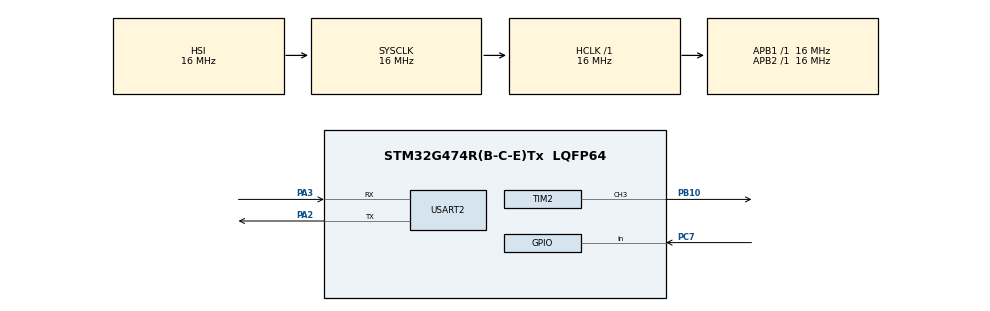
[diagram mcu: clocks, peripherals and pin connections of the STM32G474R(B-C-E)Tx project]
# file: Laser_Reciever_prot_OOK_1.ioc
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Mcu.Family=STM32G4
Mcu.Name=STM32G474R(B-C-E)Tx
Mcu.Package=LQFP64
NVIC.PriorityGroup=NVIC_PRIORITYGROUP_4
NVIC.USART2_IRQn=true\:0\:0\:false\:false\:true\:true\:true\:true
PA2.Mode=Asynchronous
PA2.Signal=USART2_TX
PA3.Mode=Asynchronous
PA3.Signal=USART2_RX
PB10.Signal=S_TIM2_CH3
PC7.Signal=GPIO_Input
ProjectManager.HeapSize=0x200
ProjectManager.StackSize=0x400
ProjectManager.TargetToolchain=STM32CubeIDE
RCC.AHBFreq_Value=16000000
RCC.APB1Freq_Value=16000000
RCC.APB1TimFreq_Value=16000000
RCC.APB2Freq_Value=16000000
RCC.APB2TimFreq_Value=16000000
RCC.CortexFreq_Value=16000000
RCC.EXTERNAL_CLOCK_VALUE=12288000
RCC.HCLKFreq_Value=16000000
RCC.HSE_VALUE=8000000
RCC.HSI48_VALUE=48000000
RCC.HSI_VALUE=16000000
RCC.LSE_VALUE=32768
RCC.SYSCLKFreq_VALUE=16000000
RCC.USBFreq_Value=64000000
RCC.VCOOutputFreq_Value=128000000
SH.S_TIM2_CH3.0=TIM2_CH3,PWM Generation3 CH3
TIM2.Channel-PWM\ Generation3\ CH3=TIM_CHANNEL_3
TIM2.PeriodNoDither=999
TIM2.Prescaler=15
USART2.VirtualMode-Asynchronous=VM_ASYNC
VP_SYS_VS_DBSignals.Mode=DisableDeadBatterySignals
VP_TIM2_VS_ClockSourceINT.Mode=Internal
board=custom

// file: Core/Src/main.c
/* USER CODE BEGIN Header */
/**
  ******************************************************************************
  * @file           : main.c
  * @brief          : Main program body
  ******************************************************************************
  * @attention
  *
  * Copyright (c) 2025 STMicroelectronics.
  * All rights reserved.
  *
  * This software is licensed under terms that can be found in the LICENSE file
  * in the root directory of this software component.
  * If no LICENSE file comes with this software, it is provided AS-IS.
  *
  ******************************************************************************
  */
/* USER CODE END Header */
#include "main.h"
#include "time.h"
#include "stdio.h"

TIM_HandleTypeDef htim2;

UART_HandleTypeDef huart2;

/* USER CODE BEGIN PV */
//double start = 0;
//double cur_time = 0;

uint8_t cur_light = 0;
uint8_t zero_count = 0;
uint8_t cur_sum = 0;
uint8_t rec_buff[108];

char tx_buffer[32];

uint32_t start, stop, elapsed;
double elapsedtime;
/* USER CODE END PV */

void SystemClock_Config(void);
static void MX_GPIO_Init(void);
static void MX_USART2_UART_Init(void);
static void MX_TIM2_Init(void);

int main(void)
{

  /* MCU Configuration--------------------------------------------------------*/

  /* Reset of all peripherals, Initializes the Flash interface and the Systick. */
  HAL_Init();

  /* Configure the system clock */
  SystemClock_Config();

  /* Initialize all configured peripherals */
  MX_GPIO_Init();
  MX_USART2_UART_Init();
  MX_TIM2_Init();
  /* USER CODE BEGIN 2 */
  CoreDebug->DEMCR |= CoreDebug_DEMCR_TRCENA_Msk;
  DWT->CYCCNT = 0;
  DWT->CTRL |= DWT_CTRL_CYCCNTENA_Msk;

  TIM2->CCR3 = 500;
  HAL_TIM_PWM_Start(&htim2, TIM_CHANNEL_3);
  start = DWT->CYCCNT;
  /* USER CODE END 2 */

  /* Infinite loop */
  /* USER CODE BEGIN WHILE */
  while (1)
  {
	  HAL_UART_Transmit(&huart2, (uint8_t*)"\n\rAwaiting the message\n\r", 24, 5);
	  while(cur_light != 1){
		  cur_light = HAL_GPIO_ReadPin(GPIOC, GPIO_PIN_7);
		  //HAL_Delay(0.1);
	  }
	  int i = 0;
	  while(zero_count < 8){
		  start = DWT->CYCCNT;
		  stop = DWT->CYCCNT;
		  elapsed = stop - start;
	  	  elapsedtime = (1.0 / (double)SystemCoreClock) * (double)elapsed;
		  cur_sum = 0;
		  while(elapsedtime < 0.01095){
			  cur_light = HAL_GPIO_ReadPin(GPIOC, GPIO_PIN_7);
			  if (cur_light){
				  cur_sum++;
				  //HAL_UART_Transmit(&huart2, (uint8_t*)"1", 1, 5);
				  //sprintf(tx_buffer, " %f\n\r", elapsedtime);
				  //HAL_UART_Transmit(&huart2, (uint8_t*)tx_buffer, 32, 5);
			  }else{
				  //HAL_UART_Transmit(&huart2, (uint8_t*)"0", 1, 5);
				  //sprintf(tx_buffer, " %f\n\r", elapsedtime);
				  //HAL_UART_Transmit(&huart2, (uint8_t*)tx_buffer, 32, 5);
			  }
			  stop = DWT->CYCCNT;
			  elapsed = stop - start;
	  	  	  elapsedtime = (1.0 / (double)SystemCoreClock) * (double)elapsed;
		  }
		  if(cur_sum > 120){
			  rec_buff[i++] = 1;
			  zero_count = 0;
		  }else{
			  rec_buff[i++] = 0;
			  zero_count++;
		  }
		  //rec_buff[i] = cur_sum;
		  //i++;
	  }
	  zero_count = 0;
	  int j = 0;
	  while(zero_count < 8){
		  sprintf(tx_buffer, "%d", rec_buff[j]);
		  HAL_UART_Transmit(&huart2, (uint8_t*)tx_buffer, 32, 1);
		  if(rec_buff[j] == 0){
			  zero_count++;
		  }else{
			  zero_count = 0;
		  }
		  rec_buff[j] = 0;
		  j++;
	  }
	  cur_light = 0;
	  zero_count = 0;
	  /*
	  cur_light = HAL_GPIO_ReadPin(GPIOC, GPIO_PIN_7);
	  stop = DWT->CYCCNT;
	  elapsed = stop - start;
	  elapsedtime = (1.0 / (double)SystemCoreClock) * (double)elapsed; // time in seconds
	  if (cur_light){
		  HAL_UART_Transmit(&huart2, (uint8_t*)"1 ", 2, 5);
	  }else{
		  HAL_UART_Transmit(&huart2, (uint8_t*)"0 ", 2, 5);
	  }
	  sprintf(tx_buffer, "%f", elapsedtime);
	  HAL_UART_Transmit(&huart2, (uint8_t*)tx_buffer, 32, 5);
	  HAL_UART_Transmit(&huart2, (uint8_t*)"\n\r", 2, 5);
	  HAL_Delay(5);*/

    /* USER CODE END WHILE */

  }
}

void SystemClock_Config(void)
{
  RCC_OscInitTypeDef RCC_OscInitStruct = {0};
  RCC_ClkInitTypeDef RCC_ClkInitStruct = {0};

  /** Configure the main internal regulator output voltage
  */
  HAL_PWREx_ControlVoltageScaling(PWR_REGULATOR_VOLTAGE_SCALE1);

  /** Initializes the RCC Oscillators according to the specified parameters
  * in the RCC_OscInitTypeDef structure.
  */
  RCC_OscInitStruct.OscillatorType = RCC_OSCILLATORTYPE_HSI;
  RCC_OscInitStruct.HSIState = RCC_HSI_ON;
  RCC_OscInitStruct.HSICalibrationValue = RCC_HSICALIBRATION_DEFAULT;
  RCC_OscInitStruct.PLL.PLLState = RCC_PLL_NONE;
  if (HAL_RCC_OscConfig(&RCC_OscInitStruct) != HAL_OK)
  {
    Error_Handler();
  }

  /** Initializes the CPU, AHB and APB buses clocks
  */
  RCC_ClkInitStruct.ClockType = RCC_CLOCKTYPE_HCLK|RCC_CLOCKTYPE_SYSCLK
                              |RCC_CLOCKTYPE_PCLK1|RCC_CLOCKTYPE_PCLK2;
  RCC_ClkInitStruct.SYSCLKSource = RCC_SYSCLKSOURCE_HSI;
  RCC_ClkInitStruct.AHBCLKDivider = RCC_SYSCLK_DIV1;
  RCC_ClkInitStruct.APB1CLKDivider = RCC_HCLK_DIV1;
  RCC_ClkInitStruct.APB2CLKDivider = RCC_HCLK_DIV1;

  if (HAL_RCC_ClockConfig(&RCC_ClkInitStruct, FLASH_LATENCY_0) != HAL_OK)
  {
    Error_Handler();
  }
}

static void MX_TIM2_Init(void)
{

  TIM_ClockConfigTypeDef sClockSourceConfig = {0};
  TIM_MasterConfigTypeDef sMasterConfig = {0};
  TIM_OC_InitTypeDef sConfigOC = {0};

  htim2.Instance = TIM2;
  htim2.Init.Prescaler = 15;
  htim2.Init.CounterMode = TIM_COUNTERMODE_UP;
  htim2.Init.Period = 999;
  htim2.Init.ClockDivision = TIM_CLOCKDIVISION_DIV1;
  htim2.Init.AutoReloadPreload = TIM_AUTORELOAD_PRELOAD_DISABLE;
  if (HAL_TIM_Base_Init(&htim2) != HAL_OK)
  {
    Error_Handler();
  }
  sClockSourceConfig.ClockSource = TIM_CLOCKSOURCE_INTERNAL;
  if (HAL_TIM_ConfigClockSource(&htim2, &sClockSourceConfig) != HAL_OK)
  {
    Error_Handler();
  }
  if (HAL_TIM_PWM_Init(&htim2) != HAL_OK)
  {
    Error_Handler();
  }
  sMasterConfig.MasterOutputTrigger = TIM_TRGO_RESET;
  sMasterConfig.MasterSlaveMode = TIM_MASTERSLAVEMODE_DISABLE;
  if (HAL_TIMEx_MasterConfigSynchronization(&htim2, &sMasterConfig) != HAL_OK)
  {
    Error_Handler();
  }
  sConfigOC.OCMode = TIM_OCMODE_PWM1;
  sConfigOC.Pulse = 0;
  sConfigOC.OCPolarity = TIM_OCPOLARITY_HIGH;
  sConfigOC.OCFastMode = TIM_OCFAST_DISABLE;
  if (HAL_TIM_PWM_ConfigChannel(&htim2, &sConfigOC, TIM_CHANNEL_3) != HAL_OK)
  {
    Error_Handler();
  }
  HAL_TIM_MspPostInit(&htim2);

}

static void MX_USART2_UART_Init(void)
{

  huart2.Instance = USART2;
  huart2.Init.BaudRate = 115200;
  huart2.Init.WordLength = UART_WORDLENGTH_8B;
  huart2.Init.StopBits = UART_STOPBITS_1;
  huart2.Init.Parity = UART_PARITY_NONE;
  huart2.Init.Mode = UART_MODE_TX_RX;
  huart2.Init.HwFlowCtl = UART_HWCONTROL_NONE;
  huart2.Init.OverSampling = UART_OVERSAMPLING_16;
  huart2.Init.OneBitSampling = UART_ONE_BIT_SAMPLE_DISABLE;
  huart2.Init.ClockPrescaler = UART_PRESCALER_DIV1;
  huart2.AdvancedInit.AdvFeatureInit = UART_ADVFEATURE_NO_INIT;
  if (HAL_UART_Init(&huart2) != HAL_OK)
  {
    Error_Handler();
  }
  if (HAL_UARTEx_SetTxFifoThreshold(&huart2, UART_TXFIFO_THRESHOLD_1_8) != HAL_OK)
  {
    Error_Handler();
  }
  if (HAL_UARTEx_SetRxFifoThreshold(&huart2, UART_RXFIFO_THRESHOLD_1_8) != HAL_OK)
  {
    Error_Handler();
  }
  if (HAL_UARTEx_DisableFifoMode(&huart2) != HAL_OK)
  {
    Error_Handler();
  }

}

static void MX_GPIO_Init(void)
{
  GPIO_InitTypeDef GPIO_InitStruct = {0};

  /* GPIO Ports Clock Enable */
  __HAL_RCC_GPIOA_CLK_ENABLE();
  __HAL_RCC_GPIOB_CLK_ENABLE();
  __HAL_RCC_GPIOC_CLK_ENABLE();

  /*Configure GPIO pin : PC7 */
  GPIO_InitStruct.Pin = GPIO_PIN_7;
  GPIO_InitStruct.Mode = GPIO_MODE_INPUT;
  GPIO_InitStruct.Pull = GPIO_NOPULL;
  HAL_GPIO_Init(GPIOC, &GPIO_InitStruct);

}

void Error_Handler(void)
{
  __disable_irq();
  while (1)
  {
  }
}
